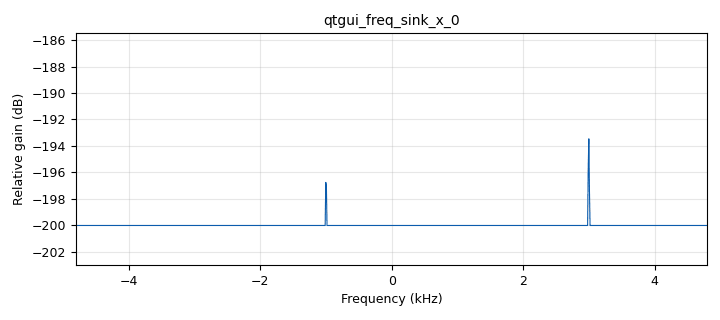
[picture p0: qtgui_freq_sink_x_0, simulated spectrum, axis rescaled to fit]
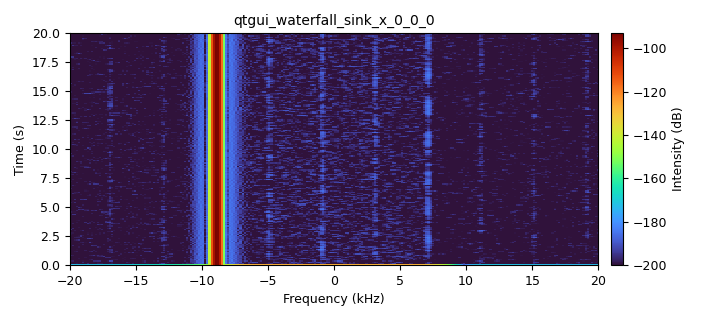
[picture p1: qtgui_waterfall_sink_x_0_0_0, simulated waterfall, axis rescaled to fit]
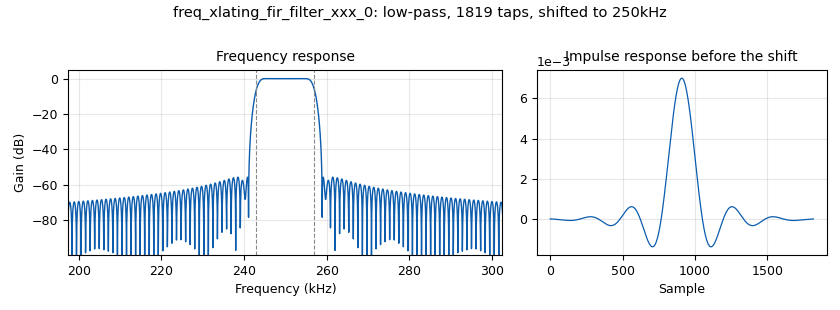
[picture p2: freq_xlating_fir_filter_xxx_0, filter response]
<?xml version='1.0' encoding='utf-8'?>
<?grc format='1' created='3.7.8'?>
<flow_graph>
<block>
<key>options</key>
<param><key>id</key><value>top_block</value></param>
<param><key>category</key><value>Custom</value></param>
<param><key>generate_options</key><value>qt_gui</value></param>
</block>
<block>
<key>variable</key>
<param><key>id</key><value>baud</value></param>
<param><key>value</key><value>4800</value></param>
</block>
<block>
<key>variable_qtgui_range</key>
<param><key>id</key><value>coarse_tune</value></param>
<param><key>value</key><value>250000</value></param>
<param><key>gui_hint</key><value>qtgui_tab_widget_0@0</value></param>
<param><key>label</key><value>Frequency offset</value></param>
<param><key>orient</key><value>Qt.Horizontal</value></param>
<param><key>start</key><value>-1000000</value></param>
<param><key>step</key><value>1e3</value></param>
<param><key>stop</key><value>1000000</value></param>
<param><key>widget</key><value>counter</value></param>
</block>
<block>
<key>variable_qtgui_range</key>
<param><key>id</key><value>fine_tune</value></param>
<param><key>value</key><value>0</value></param>
<param><key>gui_hint</key><value>qtgui_tab_widget_0@1</value></param>
<param><key>label</key><value>Frequency offset</value></param>
<param><key>orient</key><value>Qt.Horizontal</value></param>
<param><key>start</key><value>-10000</value></param>
<param><key>step</key><value>1</value></param>
<param><key>stop</key><value>10000</value></param>
</block>
<block>
<key>variable</key>
<param><key>id</key><value>samp_dec</value></param>
<param><key>value</key><value>50</value></param>
</block>
<block>
<key>variable</key>
<param><key>id</key><value>samp_lo</value></param>
<param><key>value</key><value>437000e3</value></param>
</block>
<block>
<key>variable</key>
<param><key>id</key><value>samp_rate</value></param>
<param><key>value</key><value>2e6</value></param>
</block>
<block>
<key>variable</key>
<param><key>id</key><value>sps</value></param>
<param><key>value</key><value>2</value></param>
</block>
<block>
<key>analog_sig_source_x</key>
<param><key>id</key><value>analog_sig_source_x_0</value></param>
<param><key>amp</key><value>1</value></param>
<param><key>freq</key><value>1000</value></param>
<param><key>offset</key><value>0</value></param>
<param><key>type</key><value>complex</value></param>
<param><key>samp_rate</key><value>samp_rate</value></param>
<param><key>waveform</key><value>analog.GR_COS_WAVE</value></param>
</block>
<block>
<key>ax100_adsb_kml</key>
<param><key>id</key><value>ax100_adsb_kml_0</value></param>
<param><key>_enabled</key><value>0</value></param>
</block>
<block>
<key>ax100_beacon_parser</key>
<param><key>id</key><value>ax100_beacon_parser_0</value></param>
</block>
<block>
<key>ax100_gomx3_rs_decode</key>
<param><key>id</key><value>ax100_gomx3_rs_decode_0</value></param>
<param><key>verbose</key><value>False</value></param>
</block>
<block>
<key>blocks_file_sink</key>
<param><key>id</key><value>blocks_file_sink_0</value></param>
<param><key>file</key><value>/tmp/out</value></param>
<param><key>type</key><value>byte</value></param>
<param><key>unbuffered</key><value>True</value></param>
</block>
<block>
<key>blocks_message_debug</key>
<param><key>id</key><value>blocks_message_debug_0</value></param>
<param><key>_enabled</key><value>0</value></param>
</block>
<block>
<key>blocks_pdu_to_tagged_stream</key>
<param><key>id</key><value>blocks_pdu_to_tagged_stream_0</value></param>
<param><key>type</key><value>byte</value></param>
<param><key>tag</key><value>packet_len</value></param>
</block>
<block>
<key>blocks_tag_debug</key>
<param><key>id</key><value>blocks_tag_debug_0</value></param>
<param><key>_enabled</key><value>0</value></param>
<param><key>type</key><value>byte</value></param>
</block>
<block>
<key>blocks_tagged_stream_multiply_length</key>
<param><key>id</key><value>blocks_tagged_stream_multiply_length_0</value></param>
<param><key>type</key><value>byte</value></param>
<param><key>c</key><value>1/8.0</value></param>
<param><key>lengthtagname</key><value>packet_len</value></param>
</block>
<block>
<key>blocks_tagged_stream_to_pdu</key>
<param><key>id</key><value>blocks_tagged_stream_to_pdu_0</value></param>
<param><key>type</key><value>byte</value></param>
<param><key>tag</key><value>packet_len</value></param>
</block>
<block>
<key>blocks_throttle</key>
<param><key>id</key><value>blocks_throttle_0</value></param>
<param><key>samples_per_second</key><value>samp_rate/samp_dec</value></param>
<param><key>type</key><value>complex</value></param>
</block>
<block>
<key>blocks_throttle</key>
<param><key>id</key><value>blocks_throttle_1</value></param>
<param><key>samples_per_second</key><value>samp_rate</value></param>
<param><key>type</key><value>complex</value></param>
</block>
<block>
<key>blocks_unpacked_to_packed_xx</key>
<param><key>id</key><value>blocks_unpacked_to_packed_xx_0</value></param>
<param><key>bits_per_chunk</key><value>1</value></param>
<param><key>endianness</key><value>gr.GR_MSB_FIRST</value></param>
<param><key>type</key><value>byte</value></param>
</block>
<block>
<key>csp_check_crc</key>
<param><key>id</key><value>csp_check_crc_0</value></param>
<param><key>include_header</key><value>False</value></param>
<param><key>verbose</key><value>False</value></param>
</block>
<block>
<key>csp_print_header</key>
<param><key>id</key><value>csp_print_header_0</value></param>
<param><key>_enabled</key><value>0</value></param>
</block>
<block>
<key>digital_correlate_access_code_tag_bb</key>
<param><key>id</key><value>digital_correlate_access_code_tag_bb_0</value></param>
<param><key>access_code</key><value>10010011000010110101000111011110</value></param>
<param><key>tagname</key><value>syncword</value></param>
<param><key>threshold</key><value>6</value></param>
</block>
<block>
<key>digital_descrambler_bb</key>
<param><key>id</key><value>digital_descrambler_bb_0</value></param>
<param><key>len</key><value>16</value></param>
<param><key>mask</key><value>0x21</value></param>
<param><key>seed</key><value>0x00</value></param>
</block>
<block>
<key>digital_gmsk_demod</key>
<param><key>id</key><value>digital_gmsk_demod_0</value></param>
<param><key>freq_error</key><value>0.0</value></param>
<param><key>gain_mu</key><value>0.3</value></param>
<param><key>mu</key><value>0.1</value></param>
<param><key>omega_relative_limit</key><value>0.005</value></param>
<param><key>samples_per_symbol</key><value>sps</value></param>
</block>
<block>
<key>freq_xlating_fir_filter_xxx</key>
<param><key>id</key><value>freq_xlating_fir_filter_xxx_0</value></param>
<param><key>center_freq</key><value>coarse_tune + fine_tune</value></param>
<param><key>decim</key><value>samp_dec</value></param>
<param><key>samp_rate</key><value>samp_rate</value></param>
<param><key>taps</key><value>firdes.low_pass_2(1,samp_rate,7e3, 2e3, 40)</value></param>
<param><key>type</key><value>ccc</value></param>
</block>
<block>
<key>kiss_pdu_to_kiss</key>
<param><key>id</key><value>kiss_pdu_to_kiss_0</value></param>
</block>
<block>
<key>pfb_arb_resampler_xxx</key>
<param><key>id</key><value>pfb_arb_resampler_xxx_0</value></param>
<param><key>nfilts</key><value>32</value></param>
<param><key>rrate</key><value>sps/((samp_rate/samp_dec)/baud)</value></param>
<param><key>atten</key><value>100</value></param>
<param><key>type</key><value>ccf</value></param>
</block>
<block>
<key>qtgui_freq_sink_x</key>
<param><key>id</key><value>qtgui_freq_sink_x_0</value></param>
<param><key>bw</key><value>baud*sps</value></param>
<param><key>fc</key><value>0</value></param>
<param><key>ctrlpanel</key><value>True</value></param>
<param><key>fftsize</key><value>1024</value></param>
<param><key>gui_hint</key><value>qtgui_tab_widget_0@1</value></param>
<param><key>showports</key><value>True</value></param>
<param><key>tr_level</key><value>-30</value></param>
<param><key>tr_mode</key><value>qtgui.TRIG_MODE_NORM</value></param>
<param><key>type</key><value>complex</value></param>
<param><key>wintype</key><value>firdes.WIN_BLACKMAN_hARRIS</value></param>
</block>
<block>
<key>qtgui_tab_widget</key>
<param><key>id</key><value>qtgui_tab_widget_0</value></param>
<param><key>label0</key><value>Coarse tune</value></param>
<param><key>label1</key><value>Fine tune</value></param>
<param><key>label2</key><value>Time signal</value></param>
<param><key>num_tabs</key><value>3</value></param>
</block>
<block>
<key>qtgui_time_sink_x</key>
<param><key>id</key><value>qtgui_time_sink_x_0</value></param>
<param><key>gui_hint</key><value>qtgui_tab_widget_0@2</value></param>
<param><key>grid</key><value>True</value></param>
<param><key>color1</key><value>"blue"</value></param>
<param><key>label1</key><value></value></param>
<param><key>color2</key><value>"red"</value></param>
<param><key>label2</key><value></value></param>
<param><key>size</key><value>256</value></param>
<param><key>srate</key><value>baud*sps</value></param>
<param><key>tr_level</key><value>0.4</value></param>
<param><key>tr_mode</key><value>qtgui.TRIG_MODE_NORM</value></param>
<param><key>type</key><value>complex</value></param>
</block>
<block>
<key>qtgui_waterfall_sink_x</key>
<param><key>id</key><value>qtgui_waterfall_sink_x_0_0_0</value></param>
<param><key>bw</key><value>samp_rate/samp_dec</value></param>
<param><key>fc</key><value>fine_tune</value></param>
<param><key>fftsize</key><value>256</value></param>
<param><key>gui_hint</key><value>qtgui_tab_widget_0@1</value></param>
<param><key>grid</key><value>True</value></param>
<param><key>int_max</key><value>0</value></param>
<param><key>int_min</key><value>-100</value></param>
<param><key>showports</key><value>True</value></param>
<param><key>type</key><value>complex</value></param>
<param><key>update_time</key><value>0.1</value></param>
<param><key>wintype</key><value>firdes.WIN_BLACKMAN_hARRIS</value></param>
</block>
<block>
<key>synctags_fixedlen_tagger</key>
<param><key>id</key><value>synctags_fixedlen_tagger_0</value></param>
<param><key>packetlen_tag</key><value>packet_len</value></param>
<param><key>packet_len</key><value>256*8</value></param>
<param><key>stream_type</key><value>byte</value></param>
<param><key>syncword_tag</key><value>syncword</value></param>
</block>
<connection><source_block_id>analog_sig_source_x_0</source_block_id><sink_block_id>blocks_throttle_1</sink_block_id><source_key>0</source_key><sink_key>0</sink_key></connection>
<connection><source_block_id>ax100_gomx3_rs_decode_0</source_block_id><sink_block_id>csp_check_crc_0</sink_block_id><source_key>out</source_key><sink_key>in</sink_key></connection>
<connection><source_block_id>blocks_pdu_to_tagged_stream_0</source_block_id><sink_block_id>blocks_file_sink_0</sink_block_id><source_key>0</source_key><sink_key>0</sink_key></connection>
<connection><source_block_id>blocks_tagged_stream_multiply_length_0</source_block_id><sink_block_id>blocks_tagged_stream_to_pdu_0</sink_block_id><source_key>0</source_key><sink_key>0</sink_key></connection>
<connection><source_block_id>blocks_tagged_stream_to_pdu_0</source_block_id><sink_block_id>ax100_gomx3_rs_decode_0</sink_block_id><source_key>pdus</source_key><sink_key>in</sink_key></connection>
<connection><source_block_id>blocks_throttle_0</source_block_id><sink_block_id>pfb_arb_resampler_xxx_0</sink_block_id><source_key>0</source_key><sink_key>0</sink_key></connection>
<connection><source_block_id>blocks_throttle_0</source_block_id><sink_block_id>qtgui_time_sink_x_0</sink_block_id><source_key>0</source_key><sink_key>0</sink_key></connection>
<connection><source_block_id>blocks_throttle_0</source_block_id><sink_block_id>qtgui_waterfall_sink_x_0_0_0</sink_block_id><source_key>0</source_key><sink_key>0</sink_key></connection>
<connection><source_block_id>blocks_throttle_1</source_block_id><sink_block_id>freq_xlating_fir_filter_xxx_0</sink_block_id><source_key>0</source_key><sink_key>0</sink_key></connection>
<connection><source_block_id>blocks_unpacked_to_packed_xx_0</source_block_id><sink_block_id>blocks_tagged_stream_multiply_length_0</sink_block_id><source_key>0</source_key><sink_key>0</sink_key></connection>
<connection><source_block_id>csp_check_crc_0</source_block_id><sink_block_id>ax100_adsb_kml_0</sink_block_id><source_key>ok</source_key><sink_key>in</sink_key></connection>
<connection><source_block_id>csp_check_crc_0</source_block_id><sink_block_id>ax100_beacon_parser_0</sink_block_id><source_key>ok</source_key><sink_key>in</sink_key></connection>
<connection><source_block_id>csp_check_crc_0</source_block_id><sink_block_id>blocks_message_debug_0</sink_block_id><source_key>ok</source_key><sink_key>print_pdu</sink_key></connection>
<connection><source_block_id>csp_check_crc_0</source_block_id><sink_block_id>csp_print_header_0</sink_block_id><source_key>ok</source_key><sink_key>in</sink_key></connection>
<connection><source_block_id>csp_check_crc_0</source_block_id><sink_block_id>kiss_pdu_to_kiss_0</sink_block_id><source_key>ok</source_key><sink_key>in</sink_key></connection>
<connection><source_block_id>digital_correlate_access_code_tag_bb_0</source_block_id><sink_block_id>blocks_tag_debug_0</sink_block_id><source_key>0</source_key><sink_key>0</sink_key></connection>
<connection><source_block_id>digital_correlate_access_code_tag_bb_0</source_block_id><sink_block_id>synctags_fixedlen_tagger_0</sink_block_id><source_key>0</source_key><sink_key>0</sink_key></connection>
<connection><source_block_id>digital_descrambler_bb_0</source_block_id><sink_block_id>digital_correlate_access_code_tag_bb_0</sink_block_id><source_key>0</source_key><sink_key>0</sink_key></connection>
<connection><source_block_id>digital_gmsk_demod_0</source_block_id><sink_block_id>digital_descrambler_bb_0</sink_block_id><source_key>0</source_key><sink_key>0</sink_key></connection>
<connection><source_block_id>freq_xlating_fir_filter_xxx_0</source_block_id><sink_block_id>blocks_throttle_0</sink_block_id><source_key>0</source_key><sink_key>0</sink_key></connection>
<connection><source_block_id>kiss_pdu_to_kiss_0</source_block_id><sink_block_id>blocks_pdu_to_tagged_stream_0</sink_block_id><source_key>out</source_key><sink_key>pdus</sink_key></connection>
<connection><source_block_id>pfb_arb_resampler_xxx_0</source_block_id><sink_block_id>digital_gmsk_demod_0</sink_block_id><source_key>0</source_key><sink_key>0</sink_key></connection>
<connection><source_block_id>pfb_arb_resampler_xxx_0</source_block_id><sink_block_id>qtgui_freq_sink_x_0</sink_block_id><source_key>0</source_key><sink_key>0</sink_key></connection>
<connection><source_block_id>synctags_fixedlen_tagger_0</source_block_id><sink_block_id>blocks_unpacked_to_packed_xx_0</sink_block_id><source_key>0</source_key><sink_key>0</sink_key></connection>
</flow_graph>
